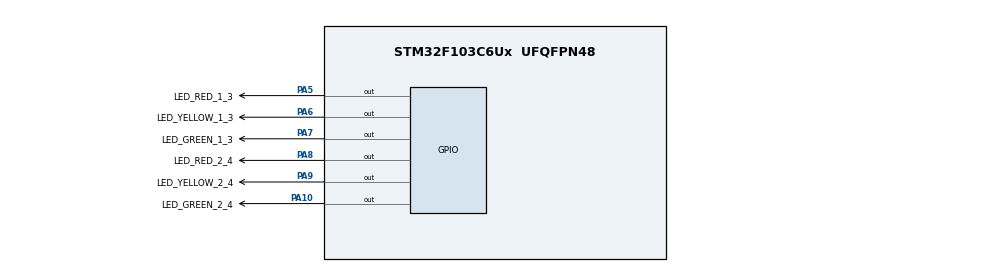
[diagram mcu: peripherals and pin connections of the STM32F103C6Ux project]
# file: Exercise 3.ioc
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Mcu.Family=STM32F1
Mcu.Name=STM32F103C6Ux
Mcu.Package=UFQFPN48
NVIC.PriorityGroup=NVIC_PRIORITYGROUP_4
PA10.GPIO_Label=LED_GREEN_2_4
PA10.Signal=GPIO_Output
PA5.GPIO_Label=LED_RED_1_3
PA5.Signal=GPIO_Output
PA6.GPIO_Label=LED_YELLOW_1_3
PA6.Signal=GPIO_Output
PA7.GPIO_Label=LED_GREEN_1_3
PA7.Signal=GPIO_Output
PA8.GPIO_Label=LED_RED_2_4
PA8.Signal=GPIO_Output
PA9.GPIO_Label=LED_YELLOW_2_4
PA9.Signal=GPIO_Output
ProjectManager.HeapSize=0x200
ProjectManager.StackSize=0x400
ProjectManager.TargetToolchain=STM32CubeIDE
RCC.APB1Freq_Value=8000000
RCC.APB2Freq_Value=8000000
VP_SYS_VS_ND.Mode=No_Debug
board=custom

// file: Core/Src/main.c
/* USER CODE BEGIN Header */
/**
  ******************************************************************************
  * @file           : main.c
  * @brief          : Main program body
  ******************************************************************************
  * @attention
  *
  * <h2><center>&copy; Copyright (c) 2022 STMicroelectronics.
  * All rights reserved.</center></h2>
  *
  * This software component is licensed by ST under BSD 3-Clause license,
  * the "License"; You may not use this file except in compliance with the
  * License. You may obtain a copy of the License at:
  *                        opensource.org/licenses/BSD-3-Clause
  *
  ******************************************************************************
  */
/* USER CODE END Header */
#include "main.h"

void SystemClock_Config(void);
static void MX_GPIO_Init(void);

int main(void)
{

  /* MCU Configuration--------------------------------------------------------*/

  /* Reset of all peripherals, Initializes the Flash interface and the Systick. */
  HAL_Init();

  /* Configure the system clock */
  SystemClock_Config();

  /* Initialize all configured peripherals */
  MX_GPIO_Init();

  /* Infinite loop */
  /* USER CODE BEGIN WHILE */
  int counterForLed1_3 = 0;  //For Traffic Light left & right
  int counterForLed2_4 = 0;  //For Traffic Light top & bottom
  while (1)
  {
	  /* Traffic Light left & right with turn on Led red first  */
	  if (counterForLed1_3 < 5)
	  {
		  HAL_GPIO_WritePin ( LED_RED_1_3_GPIO_Port , LED_RED_1_3_Pin , GPIO_PIN_RESET ) ;
		  HAL_GPIO_WritePin ( LED_YELLOW_1_3_GPIO_Port , LED_YELLOW_1_3_Pin , GPIO_PIN_SET) ;
		  HAL_GPIO_WritePin ( LED_GREEN_1_3_GPIO_Port , LED_GREEN_1_3_Pin , GPIO_PIN_SET) ;
	  }

	  else if (counterForLed1_3 < 8)
	  {
		  HAL_GPIO_WritePin ( LED_RED_1_3_GPIO_Port , LED_RED_1_3_Pin , GPIO_PIN_SET ) ;
		  HAL_GPIO_WritePin ( LED_YELLOW_1_3_GPIO_Port , LED_YELLOW_1_3_Pin , GPIO_PIN_SET) ;
		  HAL_GPIO_WritePin ( LED_GREEN_1_3_GPIO_Port , LED_GREEN_1_3_Pin , GPIO_PIN_RESET) ;
	  }

	  else
	  {
		  HAL_GPIO_WritePin ( LED_RED_1_3_GPIO_Port , LED_RED_1_3_Pin , GPIO_PIN_SET ) ;
		  HAL_GPIO_WritePin ( LED_YELLOW_1_3_GPIO_Port , LED_YELLOW_1_3_Pin , GPIO_PIN_RESET) ;
		  HAL_GPIO_WritePin ( LED_GREEN_1_3_GPIO_Port , LED_GREEN_1_3_Pin , GPIO_PIN_SET) ;
	  }

	  /* Traffic Light top & bottom with led green first */
	  if (counterForLed2_4 < 3)
	  {
		  HAL_GPIO_WritePin ( LED_RED_2_4_GPIO_Port , LED_RED_2_4_Pin , GPIO_PIN_SET ) ;
		  HAL_GPIO_WritePin ( LED_YELLOW_2_4_GPIO_Port , LED_YELLOW_2_4_Pin , GPIO_PIN_SET) ;
		  HAL_GPIO_WritePin ( LED_GREEN_2_4_GPIO_Port , LED_GREEN_2_4_Pin , GPIO_PIN_RESET) ;
	  }

	  else if (counterForLed2_4 < 5)
	  {
		  HAL_GPIO_WritePin ( LED_RED_2_4_GPIO_Port , LED_RED_2_4_Pin , GPIO_PIN_SET ) ;
		  HAL_GPIO_WritePin ( LED_YELLOW_2_4_GPIO_Port , LED_YELLOW_2_4_Pin , GPIO_PIN_RESET) ;
		  HAL_GPIO_WritePin ( LED_GREEN_2_4_GPIO_Port , LED_GREEN_2_4_Pin , GPIO_PIN_SET) ;
	  }

	  else
	  {
		  HAL_GPIO_WritePin ( LED_RED_2_4_GPIO_Port , LED_RED_2_4_Pin , GPIO_PIN_RESET ) ;
		  HAL_GPIO_WritePin ( LED_YELLOW_2_4_GPIO_Port , LED_YELLOW_2_4_Pin , GPIO_PIN_SET) ;
		  HAL_GPIO_WritePin ( LED_GREEN_2_4_GPIO_Port , LED_GREEN_2_4_Pin , GPIO_PIN_SET) ;
	  }

	  counterForLed1_3++;
	  counterForLed2_4++;

	  //Reset counter
	  if (counterForLed1_3 == 10) counterForLed1_3 = 0;
	  if (counterForLed2_4 == 10) counterForLed2_4 = 0;

	  HAL_Delay(1000);

    /* USER CODE END WHILE */

  }
}

void SystemClock_Config(void)
{
  RCC_OscInitTypeDef RCC_OscInitStruct = {0};
  RCC_ClkInitTypeDef RCC_ClkInitStruct = {0};

  /** Initializes the RCC Oscillators according to the specified parameters
  * in the RCC_OscInitTypeDef structure.
  */
  RCC_OscInitStruct.OscillatorType = RCC_OSCILLATORTYPE_HSI;
  RCC_OscInitStruct.HSIState = RCC_HSI_ON;
  RCC_OscInitStruct.HSICalibrationValue = RCC_HSICALIBRATION_DEFAULT;
  RCC_OscInitStruct.PLL.PLLState = RCC_PLL_NONE;
  if (HAL_RCC_OscConfig(&RCC_OscInitStruct) != HAL_OK)
  {
    Error_Handler();
  }
  /** Initializes the CPU, AHB and APB buses clocks
  */
  RCC_ClkInitStruct.ClockType = RCC_CLOCKTYPE_HCLK|RCC_CLOCKTYPE_SYSCLK
                              |RCC_CLOCKTYPE_PCLK1|RCC_CLOCKTYPE_PCLK2;
  RCC_ClkInitStruct.SYSCLKSource = RCC_SYSCLKSOURCE_HSI;
  RCC_ClkInitStruct.AHBCLKDivider = RCC_SYSCLK_DIV1;
  RCC_ClkInitStruct.APB1CLKDivider = RCC_HCLK_DIV1;
  RCC_ClkInitStruct.APB2CLKDivider = RCC_HCLK_DIV1;

  if (HAL_RCC_ClockConfig(&RCC_ClkInitStruct, FLASH_LATENCY_0) != HAL_OK)
  {
    Error_Handler();
  }
}

static void MX_GPIO_Init(void)
{
  GPIO_InitTypeDef GPIO_InitStruct = {0};

  /* GPIO Ports Clock Enable */
  __HAL_RCC_GPIOA_CLK_ENABLE();

  /*Configure GPIO pin Output Level */
  HAL_GPIO_WritePin(GPIOA, LED_RED_1_3_Pin|LED_YELLOW_1_3_Pin|LED_GREEN_1_3_Pin|LED_RED_2_4_Pin
                          |LED_YELLOW_2_4_Pin|LED_GREEN_2_4_Pin, GPIO_PIN_RESET);

  /*Configure GPIO pins : LED_RED_1_3_Pin LED_YELLOW_1_3_Pin LED_GREEN_1_3_Pin LED_RED_2_4_Pin
                           LED_YELLOW_2_4_Pin LED_GREEN_2_4_Pin */
  GPIO_InitStruct.Pin = LED_RED_1_3_Pin|LED_YELLOW_1_3_Pin|LED_GREEN_1_3_Pin|LED_RED_2_4_Pin
                          |LED_YELLOW_2_4_Pin|LED_GREEN_2_4_Pin;
  GPIO_InitStruct.Mode = GPIO_MODE_OUTPUT_PP;
  GPIO_InitStruct.Pull = GPIO_NOPULL;
  GPIO_InitStruct.Speed = GPIO_SPEED_FREQ_LOW;
  HAL_GPIO_Init(GPIOA, &GPIO_InitStruct);

}

void Error_Handler(void)
{
  __disable_irq();
  while (1)
  {
  }
}

/************************ (C) COPYRIGHT STMicroelectronics *****END OF FILE****/
